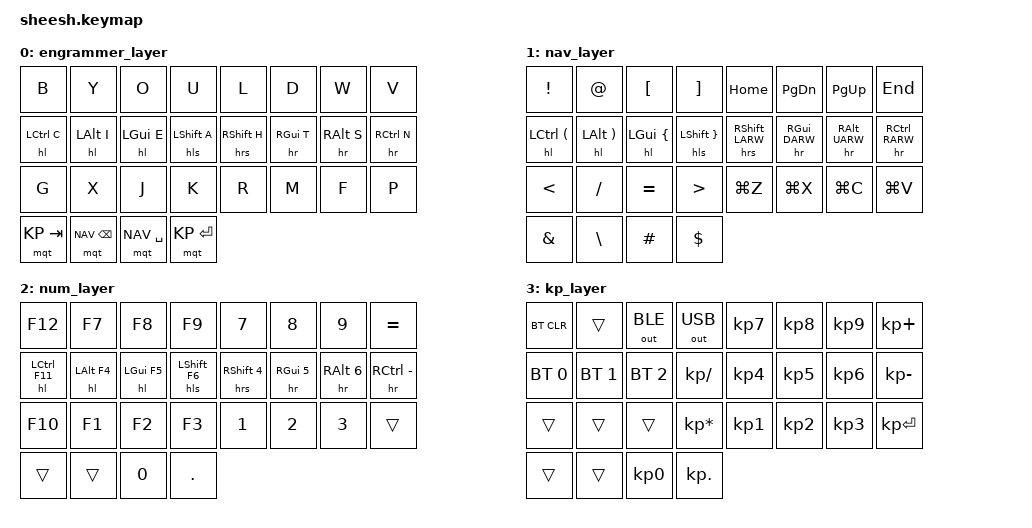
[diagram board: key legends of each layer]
/*
* Copyright (c) 2020 The ZMK Contributors
*
* SPDX-License-Identifier: MIT
*/

#include <behaviors.dtsi>
#include <dt-bindings/zmk/keys.h>
#include <dt-bindings/zmk/bt.h>
#include <dt-bindings/zmk/outputs.h>
#include "taps.dtsi"

#define NAV 1
#define NUM 2
#define KP 3

/ {
	combos {
		compatible = "zmk,combos";
		combo_num_l {
			timeout-ms = <50>;
			key-positions = <24 25>;
			layers = <0>;
			bindings = <&mo NUM>;
		};
		combo_num_r {
			timeout-ms = <50>;
			key-positions = <26 27>;
			layers = <0>;
			bindings = <&mo NUM>;
		};
		combo_esc {
			timeout-ms = <50>;
			key-positions = <0 8>;
			layers = <0>;
			bindings = <&kp ESC>;
		};
		combo_caps_word {
			timeout-ms = <50>;
			key-positions = <8 16>;
			layers = <0>;
			bindings = <&caps_word>;
		};
		
		combo_z {
			timeout-ms = <50>;
			key-positions = <6 7>;
			layers = <0>;
			require-prior-idle-ms = <175>;
			bindings = <&kp Z>;
		};
		combo_q {
			timeout-ms = <50>;
			key-positions = <22 23>;
			layers = <0>;
			require-prior-idle-ms = <175>;
			bindings = <&kp Q>;
		};
		combo_minus {
			timeout-ms = <50>;
			key-positions = <8 9>;
			layers = <0>;
			require-prior-idle-ms = <175>;
			bindings = <&kp MINUS>;
		};
		combo_comma {
			timeout-ms = <50>;
			key-positions = <9 10>;
			layers = <0>;
			require-prior-idle-ms = <175>;
			bindings = <&kp COMMA>;
		};
		combo_sqt {
			timeout-ms = <50>;
			key-positions = <10 11>;
			layers = <0>;
			require-prior-idle-ms = <175>;
			bindings = <&kp SQT>;
		};
		combo_semi {
			timeout-ms = <50>;
			key-positions = <12 13>;
			layers = <0>;
			require-prior-idle-ms = <175>;
			bindings = <&kp SEMI>;
		};
		combo_dot {
			timeout-ms = <50>;
			key-positions = <13 14>;
			layers = <0>;
			require-prior-idle-ms = <175>;
			bindings = <&kp DOT>;
		};
		combo_slash {
			timeout-ms = <50>;
			key-positions = <14 15>;
			layers = <0>;
			require-prior-idle-ms = <175>;
			bindings = <&kp SLASH>;
		};
		combo_grave {
			timeout-ms = <50>;
			key-positions = <0 1>;
			layers = <0>;
			require-prior-idle-ms = <175>;
			bindings = <&kp GRAVE>;
		};
	};
	
	
	keymap {
		compatible = "zmk,keymap";
		engrammer_layer {
			bindings = <
			&kp B    	&kp Y    	&kp O     	&kp U       	&kp L      		&kp D    	&kp W    	&kp V
			&hl LCTRL C &hl LALT I 	&hl LGUI E  &hls LSHFT A    &hrs RSHFT H  	&hr RGUI T 	&hr RALT S 	&hr RCTRL N
			&kp G    	&kp X    	&kp J     	&kp K      		&kp R      		&kp M    	&kp F    	&kp P
			&mqt KP TAB &mqt NAV BSPC &mqt NAV SPACE &mqt KP RETURN
			>;
		};
		
		nav_layer {
			bindings = <
			&kp EXCL   		&kp AT     		&kp LBKT    	&kp RBKT      	&kp  HOME       &kp PG_DN      	&kp PG_UP   	&kp END
			&hl LCTRL LPAR 	&hl LALT RPAR 	&hl LGUI LBRC 	&hls LSHFT RBRC &hrs RSHFT LARW	&hr RGUI DARW 	&hr RALT UARW 	&hr RCTRL RARW
			&kp LT     		&kp SLASH     	&kp EQUAL      	&kp GT          &kp LG(Z)      	&kp LG(X)   	&kp LG(C)  		&kp LG(V)
			&kp AMPS      	&kp BSLH      	&kp HASH      	&kp DOLLAR 
			>;
		};
		
		num_layer {
			bindings = <
			&kp F12    &kp F7   &kp F8    &kp F9    	   		&kp N7    	  &kp N8       &kp N9       &kp EQUAL
			&hl LCTRL F11 &hl LALT F4 &hl LGUI F5 &hls LSHFT F6 &hrs RSHFT N4 &hr RGUI  N5 &hr RALT  N6 &hr RCTRL  MINUS
			&kp F10    &kp F1   &kp F2    &kp F3           		&kp N1        &kp N2       &kp N3       &trans
			&trans     &trans      		   			   	   		&kp N0        &kp DOT
			>;
		};
		
		kp_layer {
			bindings = <
			&bt BT_CLR		&trans			&out OUT_BLE	&out OUT_USB     &kp KP_N7 		&kp KP_N8 	&kp KP_N9 	&kp KP_PLUS
			&bt BT_SEL 0  	&bt BT_SEL 1    &bt BT_SEL 2    &kp KP_DIVIDE    &kp KP_N4  	&kp KP_N5 	&kp KP_N6 	&kp KP_MINUS
			&trans		 	&trans     		&trans			&kp KP_MULTIPLY  &kp KP_N1  	&kp KP_N2	&kp KP_N3 	&kp KP_ENTER
			&trans         	&trans 			&kp KP_N0       &kp KP_DOT
			>;
		};
	};
};
